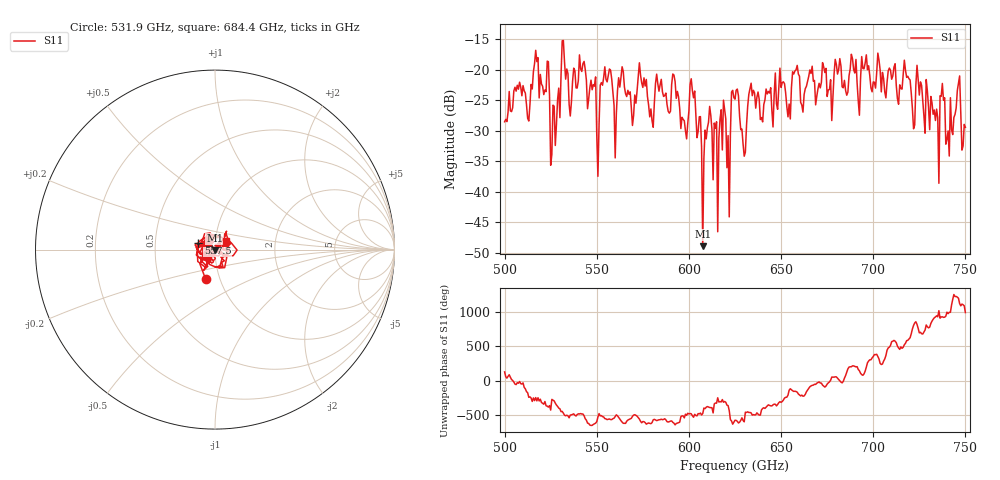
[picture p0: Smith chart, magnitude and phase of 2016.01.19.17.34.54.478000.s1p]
!Created with skrf (http://scikit-rf.org).
# GHz S RI R 50.0
!freq ReS11 ImS11
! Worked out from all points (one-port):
!   401 points, 500 GHz to 750 GHz, reference 50 ohm
!   lowest |S11| = -48.9 dB at 607.5 GHz (marker M1), VSWR 1.01, Z = 49.9 - j0.329 ohm
!   |S11| at or under -10 dB: start of sweep to end of sweep
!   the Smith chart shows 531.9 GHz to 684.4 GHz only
!   S11 on the Smith chart (normalised r, x): 531.9 GHz: 0.86, -0.29; 557.5 GHz: 0.83, +0.06; 684.4 GHz: 1.13, +0.12
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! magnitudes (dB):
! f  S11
! 500 GHz  -28.5
! 513.1 GHz  -28.4
! 516.9 GHz  -16.8
! 523.1 GHz  -18.6
! 526.2 GHz  -25.8
! 531.2 GHz  -15.3
! 531.9 GHz  -15.2
! 551.2 GHz  -29.0
! 557.5 GHz  -20.1
! 560 GHz  -34.5
! 562.5 GHz  -22.9
! 593.8 GHz  -23.6
! 598.1 GHz  -30.0
! 601.9 GHz  -23.4
! 607.5 GHz  -48.9
! 618.1 GHz  -33.2
! 621.2 GHz  -30.8
! 625 GHz  -24.8
! 629.4 GHz  -32.2
! 633.8 GHz  -22.2
! 656.2 GHz  -20.4
! 684.4 GHz  -21.8
! 687.5 GHz  -19.9
! 718.8 GHz  -21.1
! 737.5 GHz  -22.3
! 740 GHz  -31.4
! 746.2 GHz  -22.2
! 750 GHz  -29.5
